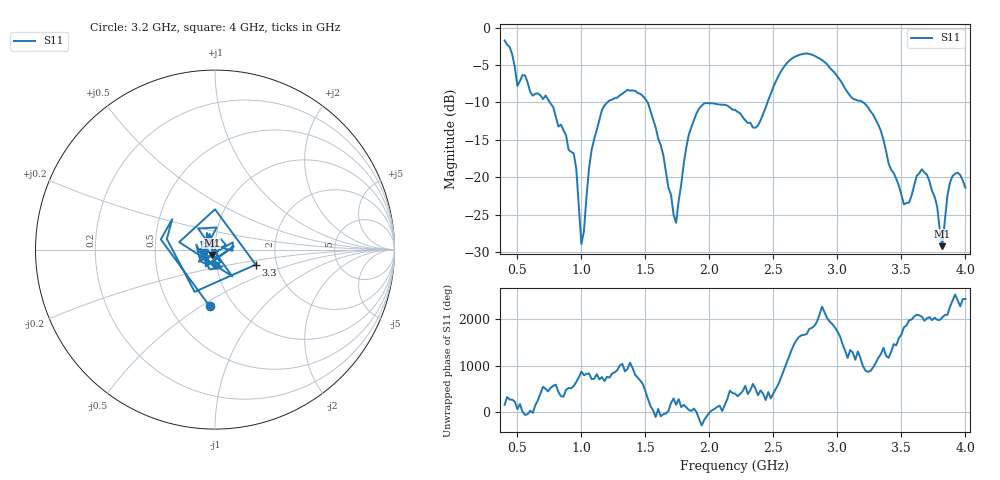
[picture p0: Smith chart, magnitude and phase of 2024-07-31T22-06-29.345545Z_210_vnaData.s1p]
!Created with skrf (http://scikit-rf.org).
# Hz S RI R 50.0
!freq ReS11 ImS11
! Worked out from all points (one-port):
!   181 points, 400 MHz to 4 GHz, reference 50 ohm
!   lowest |S11| = -29.2 dB at 3.82 GHz (marker M1), VSWR 1.07, Z = 48.2 - j2.89 ohm
!   |S11| at or under -10 dB: 753.8 MHz to 1.201 GHz (447.2 MHz wide, 45.8 % of centre); 1.518 GHz to 2.454 GHz (935.8 MHz wide, 47.1 % of centre); 3.203 GHz to end of sweep
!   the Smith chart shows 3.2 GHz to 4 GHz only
!   S11 on the Smith chart (normalised r, x): 3.2 GHz: 0.78, -0.55; 3.3 GHz: 1.56, -0.28; 4 GHz: 1.00, -0.17
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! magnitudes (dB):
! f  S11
! 400 MHz  -1.7
! 500 MHz  -7.8
! 560 MHz  -6.4
! 860 MHz  -13.7
! 960 MHz  -18.9
! 1 GHz  -28.9
! 1.1 GHz  -14.9
! 1.18 GHz  -10.4
! 1.3 GHz  -9.1
! 1.52 GHz  -10.1
! 1.74 GHz  -26.1
! 1.76 GHz  -23.1
! 1.84 GHz  -14.2
! 1.92 GHz  -10.8
! 2.2 GHz  -11.0
! 2.36 GHz  -13.4
! 2.66 GHz  -4.0
! 2.88 GHz  -4.4
! 3.1 GHz  -9.1
! 3.2 GHz  -10.0
! 3.3 GHz  -12.3
! 3.56 GHz  -23.4
! 3.7 GHz  -19.7
! 3.78 GHz  -23.9
! 3.82 GHz  -29.2
! 3.86 GHz  -22.4
! 3.9 GHz  -19.8
! 4 GHz  -21.4
